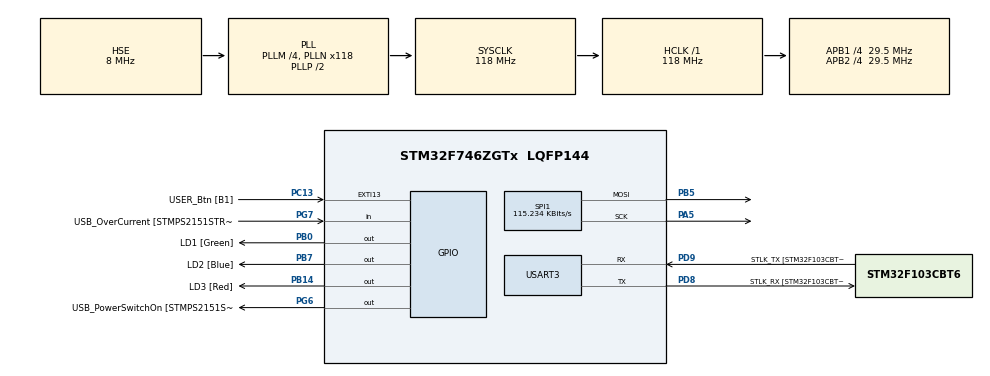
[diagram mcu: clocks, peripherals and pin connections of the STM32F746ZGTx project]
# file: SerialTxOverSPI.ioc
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Mcu.Family=STM32F7
Mcu.Name=STM32F746ZGTx
Mcu.Package=LQFP144
NVIC.PriorityGroup=NVIC_PRIORITYGROUP_4
NVIC.SPI1_IRQn=true\:0\:0\:false\:false\:true\:true\:true
PA1.GPIO_Label=RMII_REF_CLK [LAN8742A-CZ-TR_REFCLK0]
PA1.Signal=ETH_REF_CLK
PA10.GPIO_Label=USB_ID
PA10.Signal=USB_OTG_FS_ID
PA11.GPIO_Label=USB_DM
PA11.Signal=USB_OTG_FS_DM
PA12.GPIO_Label=USB_DP
PA12.Signal=USB_OTG_FS_DP
PA13.GPIO_Label=TMS
PA13.Mode=Serial_Wire
PA13.Signal=SYS_JTMS-SWDIO
PA14.GPIO_Label=TCK
PA14.Mode=Serial_Wire
PA14.Signal=SYS_JTCK-SWCLK
PA2.GPIO_Label=RMII_MDIO [LAN8742A-CZ-TR_MDIO]
PA2.Signal=ETH_MDIO
PA5.Mode=TX_Only_Simplex_Unidirect_Master
PA5.Signal=SPI1_SCK
PA7.GPIO_Label=RMII_CRS_DV [LAN8742A-CZ-TR_CRS_DV]
PA7.Signal=ETH_CRS_DV
PA8.GPIO_Label=USB_SOF [TP1]
PA8.Signal=USB_OTG_FS_SOF
PA9.GPIO_Label=USB_VBUS
PA9.Signal=USB_OTG_FS_VBUS
PB0.GPIO_Label=LD1 [Green]
PB0.Signal=GPIO_Output
PB13.GPIO_Label=RMII_TXD1 [LAN8742A-CZ-TR_TXD1]
PB13.Signal=ETH_TXD1
PB14.GPIO_Label=LD3 [Red]
PB14.Signal=GPIO_Output
PB3.GPIO_Label=SW0
PB3.Signal=SYS_JTDO-SWO
PB5.Mode=TX_Only_Simplex_Unidirect_Master
PB5.Signal=SPI1_MOSI
PB7.GPIO_Label=LD2 [Blue]
PB7.Signal=GPIO_Output
PC1.GPIO_Label=RMII_MDC [LAN8742A-CZ-TR_MDC]
PC1.Signal=ETH_MDC
PC13.GPIO_Label=USER_Btn [B1]
PC13.Signal=GPXTI13
PC14/OSC32_IN.Mode=LSE-External-Oscillator
PC14/OSC32_IN.Signal=RCC_OSC32_IN
PC15/OSC32_OUT.Mode=LSE-External-Oscillator
PC15/OSC32_OUT.Signal=RCC_OSC32_OUT
PC4.GPIO_Label=RMII_RXD0 [LAN8742A-CZ-TR_RXD0]
PC4.Signal=ETH_RXD0
PC5.GPIO_Label=RMII_RXD1 [LAN8742A-CZ-TR_RXD1]
PC5.Signal=ETH_RXD1
PD8.GPIO_Label=STLK_RX [STM32F103CBT6_PA3]
PD8.Mode=Asynchronous
PD8.Signal=USART3_TX
PD9.GPIO_Label=STLK_TX [STM32F103CBT6_PA2]
PD9.Mode=Asynchronous
PD9.Signal=USART3_RX
PG11.GPIO_Label=RMII_TX_EN [LAN8742A-CZ-TR_TXEN]
PG11.Signal=ETH_TX_EN
PG13.GPIO_Label=RMII_TXD0 [LAN8742A-CZ-TR_TXD0]
PG13.Signal=ETH_TXD0
PG6.GPIO_Label=USB_PowerSwitchOn [STMPS2151STR_EN]
PG6.Signal=GPIO_Output
PG7.GPIO_Label=USB_OverCurrent [STMPS2151STR_FAULT]
PG7.Signal=GPIO_Input
PH0/OSC_IN.GPIO_Label=MCO [STM32F103CBT6_PA8]
PH0/OSC_IN.Mode=HSE-External-Clock-Source
PH0/OSC_IN.Signal=RCC_OSC_IN
PH1/OSC_OUT.Mode=HSE-External-Clock-Source
PH1/OSC_OUT.Signal=RCC_OSC_OUT
ProjectManager.HeapSize=0x200
ProjectManager.StackSize=0x400
ProjectManager.TargetToolchain=MDK-ARM V5
RCC.48MHZClocksFreq_Value=24000000
RCC.AHBFreq_Value=118000000
RCC.APB1CLKDivider=RCC_HCLK_DIV4
RCC.APB1Freq_Value=29500000
RCC.APB1TimFreq_Value=59000000
RCC.APB2CLKDivider=RCC_HCLK_DIV4
RCC.APB2Freq_Value=29500000
RCC.APB2TimFreq_Value=59000000
RCC.CortexFreq_Value=118000000
RCC.HCLKFreq_Value=118000000
RCC.HSE_VALUE=8000000
RCC.HSI_VALUE=16000000
RCC.PLLM=4
RCC.PLLMUL=RCC_PLL_MUL9
RCC.PLLN=118
RCC.PLLQ=3
RCC.PLLSourceVirtual=RCC_PLLSOURCE_HSE
RCC.PRESCALERUSB=RCC_USBCLKSOURCE_PLL_DIV1_5
RCC.SYSCLKFreq_VALUE=118000000
RCC.SYSCLKSource=RCC_SYSCLKSOURCE_PLLCLK
RCC.SYSCLKSourceVirtual=RCC_SYSCLKSOURCE_PLLCLK
RCC.USBFreq_Value=78666666.66666667
RCC.VCOOutputFreq_Value=236000000
SPI1.BaudRatePrescaler=SPI_BAUDRATEPRESCALER_256
SPI1.CLKPhase=SPI_PHASE_2EDGE
SPI1.CalculateBaudRate=115.234 KBits/s
SPI1.DataSize=SPI_DATASIZE_8BIT
SPI1.Direction=SPI_DIRECTION_2LINES
SPI1.FirstBit=SPI_FIRSTBIT_LSB
SPI1.Mode=SPI_MODE_MASTER
SPI1.VirtualType=VM_MASTER
USART3.VirtualMode-Asynchronous=VM_ASYNC
board=NUCLEO-F746ZG

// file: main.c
/* USER CODE BEGIN Header */
/**
  ******************************************************************************
  * @file           : main.c
  * @brief          : Main program body
  ******************************************************************************
  * @attention
  *
  * <h2><center>&copy; Copyright (c) 2020 STMicroelectronics.
  * All rights reserved.</center></h2>
  *
  * This software component is licensed by ST under BSD 3-Clause license,
  * the "License"; You may not use this file except in compliance with the
  * License. You may obtain a copy of the License at:
  *                        opensource.org/licenses/BSD-3-Clause
  *
  ******************************************************************************
  */
/* USER CODE END Header */
#include "main.h"

/* USER CODE BEGIN PTD */
void ConvertBuff(char * text);
/* USER CODE END PTD */

SPI_HandleTypeDef hspi1;

UART_HandleTypeDef huart3;

void SystemClock_Config(void);
static void MX_GPIO_Init(void);
static void MX_SPI1_Init(void);
static void MX_USART3_UART_Init(void);

/* USER CODE BEGIN 0 */

//send buffer for PC
char buf [99]={"Test Send data with spi to Computer serial!abcdefghijklmnopqrstuvw ABCDEFGHIJKLMNOPQRSTUVW \n \r"};

//char buf [99]={0x01,0x01,0x01, 0x02,0x03, 0x04, 0x05, 0xF1, 0xF2, 0xFF};
//buffer for SerialSPI
uint8_t buf_S[100];
unsigned char cnt = 200;
void Ser_Ovr_SPI(char * text)
{
  if(cnt >= 200)
  {

    ConvertBuff(text);
		HAL_SPI_Transmit_IT(&hspi1,(uint8_t *)buf_S,200);
    //cnt = 0;
    //SPDR = text[0];
    //SPCR |= _BV(SPIE);
  }
  else
  {
    //Serial.println("SerialSPI is busy!");
  }
}

//change buffer for send in spi
//this function write bytes in double byte with extra start and stop bits
void ConvertBuff(char * text)
{
  char temp = 0;
  int i;
  buf_S[0] = 0xFF;//always start with 0xFF
  buf_S[1] = 0xFF;//always start with 0xFF
  buf_S[2] = 0xFF;//always start with 0xFF
  buf_S[3] = 0xFF;//always start with 0xFF

  for( i=0; i<100; i++)
  {
    temp = (text[i]>>7) & 0x01;
    buf_S[2*i+2]     = (text[i] << 1) & 0xFE;
    if(temp == 0)
      buf_S[2*i + 3]=0xFE;
    else
      buf_S[2*i + 3]=0xFF;
  }

}

/* USER CODE END 0 */

int main(void)
{

  /* MCU Configuration--------------------------------------------------------*/

  /* Reset of all peripherals, Initializes the Flash interface and the Systick. */
  HAL_Init();

  /* Configure the system clock */
  SystemClock_Config();

  /* Initialize all configured peripherals */
  MX_GPIO_Init();
  MX_SPI1_Init();
  MX_USART3_UART_Init();

  /* Infinite loop */
  while (1)
  {

    /* USER CODE BEGIN 3 */
		Ser_Ovr_SPI(buf);
		HAL_Delay(1000);

  }
  /* USER CODE END 3 */
}

void SystemClock_Config(void)
{
  RCC_OscInitTypeDef RCC_OscInitStruct = {0};
  RCC_ClkInitTypeDef RCC_ClkInitStruct = {0};
  RCC_PeriphCLKInitTypeDef PeriphClkInitStruct = {0};

  /** Configure LSE Drive Capability
  */
  HAL_PWR_EnableBkUpAccess();
  /** Configure the main internal regulator output voltage
  */
  __HAL_RCC_PWR_CLK_ENABLE();
  __HAL_PWR_VOLTAGESCALING_CONFIG(PWR_REGULATOR_VOLTAGE_SCALE3);
  /** Initializes the RCC Oscillators according to the specified parameters
  * in the RCC_OscInitTypeDef structure.
  */
  RCC_OscInitStruct.OscillatorType = RCC_OSCILLATORTYPE_HSE;
  RCC_OscInitStruct.HSEState = RCC_HSE_BYPASS;
  RCC_OscInitStruct.PLL.PLLState = RCC_PLL_ON;
  RCC_OscInitStruct.PLL.PLLSource = RCC_PLLSOURCE_HSE;
  RCC_OscInitStruct.PLL.PLLM = 4;
  RCC_OscInitStruct.PLL.PLLN = 118;
  RCC_OscInitStruct.PLL.PLLP = RCC_PLLP_DIV2;
  RCC_OscInitStruct.PLL.PLLQ = 3;
  if (HAL_RCC_OscConfig(&RCC_OscInitStruct) != HAL_OK)
  {
    Error_Handler();
  }
  /** Initializes the CPU, AHB and APB buses clocks
  */
  RCC_ClkInitStruct.ClockType = RCC_CLOCKTYPE_HCLK|RCC_CLOCKTYPE_SYSCLK
                              |RCC_CLOCKTYPE_PCLK1|RCC_CLOCKTYPE_PCLK2;
  RCC_ClkInitStruct.SYSCLKSource = RCC_SYSCLKSOURCE_PLLCLK;
  RCC_ClkInitStruct.AHBCLKDivider = RCC_SYSCLK_DIV1;
  RCC_ClkInitStruct.APB1CLKDivider = RCC_HCLK_DIV4;
  RCC_ClkInitStruct.APB2CLKDivider = RCC_HCLK_DIV4;

  if (HAL_RCC_ClockConfig(&RCC_ClkInitStruct, FLASH_LATENCY_3) != HAL_OK)
  {
    Error_Handler();
  }
  PeriphClkInitStruct.PeriphClockSelection = RCC_PERIPHCLK_USART3;
  PeriphClkInitStruct.Usart3ClockSelection = RCC_USART3CLKSOURCE_PCLK1;
  if (HAL_RCCEx_PeriphCLKConfig(&PeriphClkInitStruct) != HAL_OK)
  {
    Error_Handler();
  }
}

static void MX_SPI1_Init(void)
{

  /* SPI1 parameter configuration*/
  hspi1.Instance = SPI1;
  hspi1.Init.Mode = SPI_MODE_MASTER;
  hspi1.Init.Direction = SPI_DIRECTION_2LINES;
  hspi1.Init.DataSize = SPI_DATASIZE_8BIT;
  hspi1.Init.CLKPolarity = SPI_POLARITY_LOW;
  hspi1.Init.CLKPhase = SPI_PHASE_2EDGE;
  hspi1.Init.NSS = SPI_NSS_SOFT;
  hspi1.Init.BaudRatePrescaler = SPI_BAUDRATEPRESCALER_256;
  hspi1.Init.FirstBit = SPI_FIRSTBIT_LSB;
  hspi1.Init.TIMode = SPI_TIMODE_DISABLE;
  hspi1.Init.CRCCalculation = SPI_CRCCALCULATION_DISABLE;
  hspi1.Init.CRCPolynomial = 7;
  hspi1.Init.CRCLength = SPI_CRC_LENGTH_DATASIZE;
  hspi1.Init.NSSPMode = SPI_NSS_PULSE_DISABLE;
  if (HAL_SPI_Init(&hspi1) != HAL_OK)
  {
    Error_Handler();
  }

}

static void MX_USART3_UART_Init(void)
{

  huart3.Instance = USART3;
  huart3.Init.BaudRate = 115200;
  huart3.Init.WordLength = UART_WORDLENGTH_8B;
  huart3.Init.StopBits = UART_STOPBITS_1;
  huart3.Init.Parity = UART_PARITY_NONE;
  huart3.Init.Mode = UART_MODE_TX_RX;
  huart3.Init.HwFlowCtl = UART_HWCONTROL_NONE;
  huart3.Init.OverSampling = UART_OVERSAMPLING_16;
  huart3.Init.OneBitSampling = UART_ONE_BIT_SAMPLE_DISABLE;
  huart3.AdvancedInit.AdvFeatureInit = UART_ADVFEATURE_NO_INIT;
  if (HAL_UART_Init(&huart3) != HAL_OK)
  {
    Error_Handler();
  }

}

static void MX_GPIO_Init(void)
{
  GPIO_InitTypeDef GPIO_InitStruct = {0};

  /* GPIO Ports Clock Enable */
  __HAL_RCC_GPIOC_CLK_ENABLE();
  __HAL_RCC_GPIOH_CLK_ENABLE();
  __HAL_RCC_GPIOA_CLK_ENABLE();
  __HAL_RCC_GPIOB_CLK_ENABLE();
  __HAL_RCC_GPIOD_CLK_ENABLE();
  __HAL_RCC_GPIOG_CLK_ENABLE();

  /*Configure GPIO pin Output Level */
  HAL_GPIO_WritePin(GPIOB, LD1_Pin|LD3_Pin|LD2_Pin, GPIO_PIN_RESET);

  /*Configure GPIO pin Output Level */
  HAL_GPIO_WritePin(USB_PowerSwitchOn_GPIO_Port, USB_PowerSwitchOn_Pin, GPIO_PIN_RESET);

  /*Configure GPIO pin : USER_Btn_Pin */
  GPIO_InitStruct.Pin = USER_Btn_Pin;
  GPIO_InitStruct.Mode = GPIO_MODE_IT_RISING;
  GPIO_InitStruct.Pull = GPIO_NOPULL;
  HAL_GPIO_Init(USER_Btn_GPIO_Port, &GPIO_InitStruct);

  /*Configure GPIO pins : RMII_MDC_Pin RMII_RXD0_Pin RMII_RXD1_Pin */
  GPIO_InitStruct.Pin = RMII_MDC_Pin|RMII_RXD0_Pin|RMII_RXD1_Pin;
  GPIO_InitStruct.Mode = GPIO_MODE_AF_PP;
  GPIO_InitStruct.Pull = GPIO_NOPULL;
  GPIO_InitStruct.Speed = GPIO_SPEED_FREQ_VERY_HIGH;
  GPIO_InitStruct.Alternate = GPIO_AF11_ETH;
  HAL_GPIO_Init(GPIOC, &GPIO_InitStruct);

  /*Configure GPIO pins : RMII_REF_CLK_Pin RMII_MDIO_Pin RMII_CRS_DV_Pin */
  GPIO_InitStruct.Pin = RMII_REF_CLK_Pin|RMII_MDIO_Pin|RMII_CRS_DV_Pin;
  GPIO_InitStruct.Mode = GPIO_MODE_AF_PP;
  GPIO_InitStruct.Pull = GPIO_NOPULL;
  GPIO_InitStruct.Speed = GPIO_SPEED_FREQ_VERY_HIGH;
  GPIO_InitStruct.Alternate = GPIO_AF11_ETH;
  HAL_GPIO_Init(GPIOA, &GPIO_InitStruct);

  /*Configure GPIO pins : LD1_Pin LD3_Pin LD2_Pin */
  GPIO_InitStruct.Pin = LD1_Pin|LD3_Pin|LD2_Pin;
  GPIO_InitStruct.Mode = GPIO_MODE_OUTPUT_PP;
  GPIO_InitStruct.Pull = GPIO_NOPULL;
  GPIO_InitStruct.Speed = GPIO_SPEED_FREQ_LOW;
  HAL_GPIO_Init(GPIOB, &GPIO_InitStruct);

  /*Configure GPIO pin : RMII_TXD1_Pin */
  GPIO_InitStruct.Pin = RMII_TXD1_Pin;
  GPIO_InitStruct.Mode = GPIO_MODE_AF_PP;
  GPIO_InitStruct.Pull = GPIO_NOPULL;
  GPIO_InitStruct.Speed = GPIO_SPEED_FREQ_VERY_HIGH;
  GPIO_InitStruct.Alternate = GPIO_AF11_ETH;
  HAL_GPIO_Init(RMII_TXD1_GPIO_Port, &GPIO_InitStruct);

  /*Configure GPIO pin : USB_PowerSwitchOn_Pin */
  GPIO_InitStruct.Pin = USB_PowerSwitchOn_Pin;
  GPIO_InitStruct.Mode = GPIO_MODE_OUTPUT_PP;
  GPIO_InitStruct.Pull = GPIO_NOPULL;
  GPIO_InitStruct.Speed = GPIO_SPEED_FREQ_LOW;
  HAL_GPIO_Init(USB_PowerSwitchOn_GPIO_Port, &GPIO_InitStruct);

  /*Configure GPIO pin : USB_OverCurrent_Pin */
  GPIO_InitStruct.Pin = USB_OverCurrent_Pin;
  GPIO_InitStruct.Mode = GPIO_MODE_INPUT;
  GPIO_InitStruct.Pull = GPIO_NOPULL;
  HAL_GPIO_Init(USB_OverCurrent_GPIO_Port, &GPIO_InitStruct);

  /*Configure GPIO pins : USB_SOF_Pin USB_ID_Pin USB_DM_Pin USB_DP_Pin */
  GPIO_InitStruct.Pin = USB_SOF_Pin|USB_ID_Pin|USB_DM_Pin|USB_DP_Pin;
  GPIO_InitStruct.Mode = GPIO_MODE_AF_PP;
  GPIO_InitStruct.Pull = GPIO_NOPULL;
  GPIO_InitStruct.Speed = GPIO_SPEED_FREQ_VERY_HIGH;
  GPIO_InitStruct.Alternate = GPIO_AF10_OTG_FS;
  HAL_GPIO_Init(GPIOA, &GPIO_InitStruct);

  /*Configure GPIO pin : USB_VBUS_Pin */
  GPIO_InitStruct.Pin = USB_VBUS_Pin;
  GPIO_InitStruct.Mode = GPIO_MODE_INPUT;
  GPIO_InitStruct.Pull = GPIO_NOPULL;
  HAL_GPIO_Init(USB_VBUS_GPIO_Port, &GPIO_InitStruct);

  /*Configure GPIO pins : RMII_TX_EN_Pin RMII_TXD0_Pin */
  GPIO_InitStruct.Pin = RMII_TX_EN_Pin|RMII_TXD0_Pin;
  GPIO_InitStruct.Mode = GPIO_MODE_AF_PP;
  GPIO_InitStruct.Pull = GPIO_NOPULL;
  GPIO_InitStruct.Speed = GPIO_SPEED_FREQ_VERY_HIGH;
  GPIO_InitStruct.Alternate = GPIO_AF11_ETH;
  HAL_GPIO_Init(GPIOG, &GPIO_InitStruct);

}

void Error_Handler(void)
{
}

/************************ (C) COPYRIGHT STMicroelectronics *****END OF FILE****/
